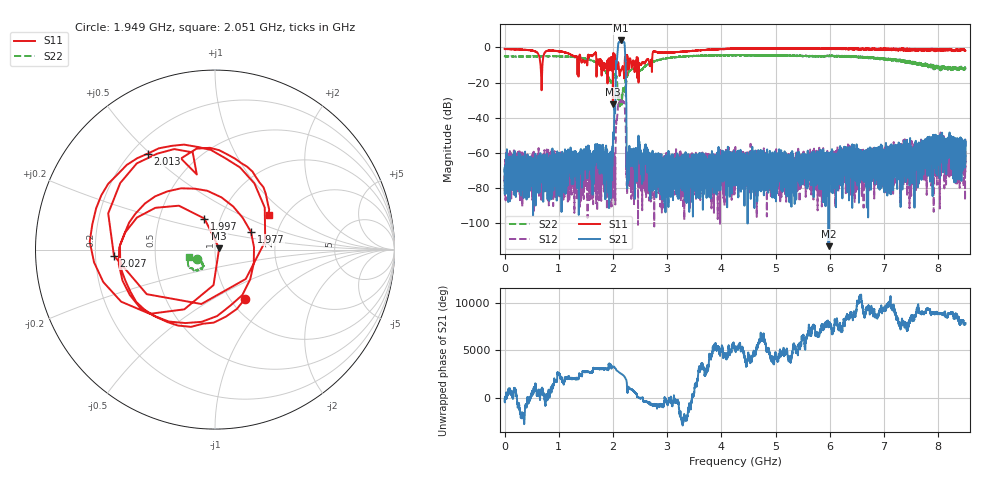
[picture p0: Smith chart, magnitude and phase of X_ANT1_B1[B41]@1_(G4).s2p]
#  HZ  S  RI  R  50.00
! Rohde & Schwarz Vector Network Analyzer
! Rohde-Schwarz,ZNBT8-20Port,1318700624101681,3.50
! Created: UTC 7/15/2025, 2:09:54 PM
! freq[Hz]  re:S1010  im:S1010  re:S0610  im:S0610  re:S1006  im:S1006  re:S66  im:S66
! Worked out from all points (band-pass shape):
!   8500 points, 1 MHz to 8.5 GHz, reference 50 ohm
!   highest |S21| = 4.00 dB at 2.146 GHz (marker M1); lowest = -113.2 dB at 5.976 GHz (marker M2)
!   |S21| within 3 dB of the highest: 2.093 GHz to 2.216 GHz (122.7 MHz wide, 5.69 % of centre)
!   lowest |S11| = -32.3 dB at 1.998 GHz (marker M3), VSWR 1.05, Z = 52.4 + j0.754 ohm
!   |S11| at or under -10 dB: 663.8 MHz to 698.8 MHz (35 MHz wide, 5.14 % of centre); 2.059 GHz to 2.086 GHz (27.12 MHz wide, 1.31 % of centre); 2.104 GHz to 2.214 GHz (109.9 MHz wide, 5.09 % of centre)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
!   |S22| runs from -33.6 to -4.2 dB; largest |S21 - S12| = 1.6
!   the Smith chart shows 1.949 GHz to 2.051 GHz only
!   S11 on the Smith chart (normalised r, x): 1.949 GHz: 1.17, -0.71; 1.977 GHz: 1.46, +0.30; 1.997 GHz: 0.84, +0.30; 2.013 GHz: 0.26, +0.49; 2.027 GHz: 0.28, -0.03; 2.051 GHz: 1.65, +0.73
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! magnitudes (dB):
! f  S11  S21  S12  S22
! 1 MHz  -0.9  -70.8  -72.8  -4.9
! 676 MHz  -18.1  -68.8  -65.8  -5.0
! 808 MHz  -1.9  -70.7  -60.5  -5.0
! 1.418 GHz  -8.5  -63.8  -75.2  -6.0
! 1.704 GHz  -7.0  -57.1  -67.1  -9.0
! 1.949 GHz  -9.9  -71.8  -75.8  -19.0
! 1.977 GHz  -13.0  -75.8  -68.3  -20.0
! 1.997 GHz  -14.8  -60.1  -63.5  -18.6
! 1.998 GHz  -32.3  -54.9  -65.7  -18.5
! 2.013 GHz  -3.7  -50.7  -68.9  -16.9
! 2.027 GHz  -5.0  -33.7  -72.3  -15.7
! 2.051 GHz  -9.0  -17.5  -51.4  -16.4
! 2.093 GHz  -8.7  0.9  -33.4  -30.0
! 2.146 GHz  -13.0  4.0  -30.4  -28.5
! 2.205 GHz  -16.6  3.0  -31.3  -23.6
! 2.292 GHz  -11.2  -61.0  -69.1  -14.0
! 2.834 GHz  -2.8  -68.6  -71.6  -7.1
! 4.251 GHz  -0.6  -62.0  -69.8  -4.6
! 5.667 GHz  -0.4  -64.6  -66.9  -5.0
! 5.976 GHz  -0.8  -113.2  -64.7  -4.7
! 7.084 GHz  -0.9  -66.5  -61.7  -7.0
! 8.5 GHz  -1.8  -55.8  -59.8  -11.8
